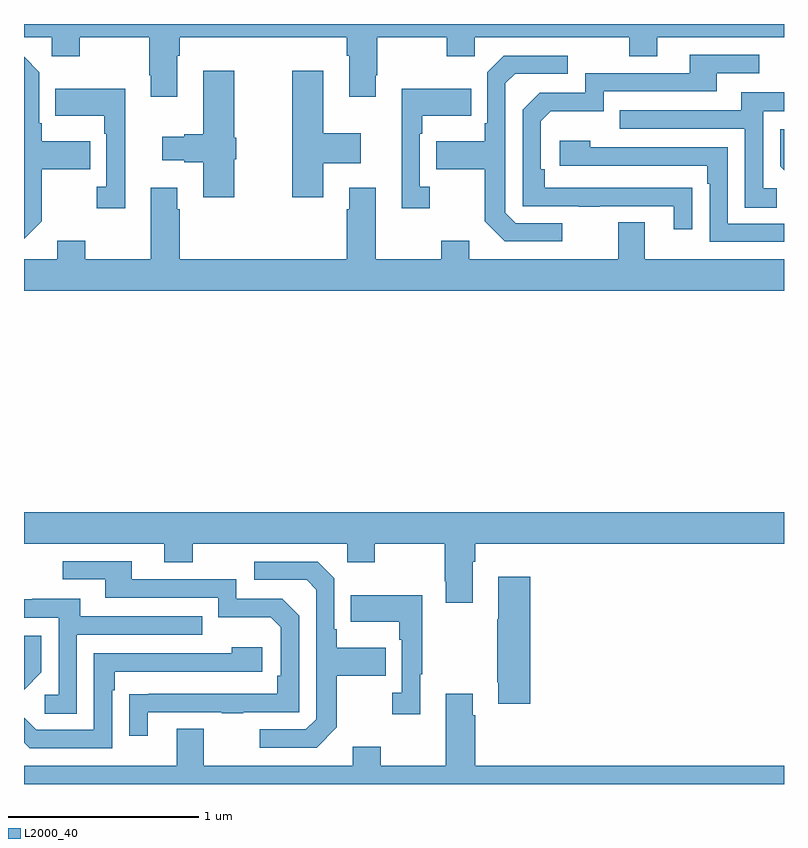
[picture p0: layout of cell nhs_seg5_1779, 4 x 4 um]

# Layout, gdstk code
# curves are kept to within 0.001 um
import gdstk
lib = gdstk.Library(unit=1e-6, precision=1e-09)
def P(c, l, *ps):  # polygons
    for p in ps: c.add(gdstk.Polygon(p, *l))
L2000_40 = (2000, 40)

nhs_seg5_1779 = lib.new_cell('nhs_seg5_1779')
P(nhs_seg5_1779, L2000_40, [(217,888.728),(217.146,888.728),(217.146,888.629),(217.293,888.629),(217.293,888.728),(217.66,888.728),(217.66,888.529),(217.667,888.529),(217.667,888.417),(217.807,888.417),(217.807,888.632),(217.82,888.632),(217.82,888.728),(218.699,888.728),(218.699,888.632),(218.711,888.632),(218.711,888.417),(218.851,888.417),(218.851,888.529),(218.859,888.529),(218.859,888.728),(219.226,888.728),(219.226,888.629),(219.372,888.629),(219.372,888.728),(220.186,888.728),(220.186,888.629),(220.333,888.629),(220.333,888.728),(221,888.728),(221,888.799),(217,888.799)],
  [(220.517,887.936),(219.74,887.937),(219.74,888.034),(219.72,888.034),(219.72,888.288),(219.773,888.341),(220.05,888.341),(220.05,888.444),(220.645,888.444),(220.645,888.54),(220.87,888.54),(220.87,888.636),(220.505,888.636),(220.505,888.54),(219.954,888.54),(219.954,888.438),(219.714,888.438),(219.624,888.348),(219.624,887.841),(219.919,887.841),(219.919,887.836),(220.031,887.836),(220.031,887.841),(220.421,887.841),(220.421,887.718),(220.517,887.718)],
  [(219.832,887.751),(219.588,887.751),(219.534,887.805),(219.534,888.486),(219.585,888.537),(219.862,888.537),(219.862,888.633),(219.525,888.633),(219.438,888.546),(219.438,888.277),(219.426,888.277),(219.426,888.181),(219.169,888.181),(219.169,888.034),(219.426,888.034),(219.426,887.761),(219.531,887.655),(219.832,887.655)],
  [(217.093,887.761),(217.093,888.034),(217.349,888.034),(217.349,888.181),(217.093,888.181),(217.093,888.277),(217.08,888.277),(217.08,888.546),(217,888.626),(217,887.668)],
  [(218.575,888.065),(218.773,888.065),(218.773,888.223),(218.575,888.223),(218.575,888.553),(218.413,888.553),(218.413,887.886),(218.575,887.886)],
  [(218.106,888.087),(218.116,888.087),(218.116,888.201),(218.106,888.201),(218.106,888.553),(217.943,888.553),(217.943,888.218),(217.844,888.218),(217.844,888.205),(217.728,888.205),(217.728,888.083),(217.844,888.083),(217.844,888.071),(217.943,888.071),(217.943,887.886),(218.106,887.886)],
  [(217.532,888.457),(217.165,888.457),(217.165,888.317),(217.422,888.317),(217.422,888.221),(217.434,888.221),(217.434,887.942),(217.383,887.942),(217.383,887.829),(217.532,887.829)],
  [(219.136,887.942),(219.084,887.942),(219.084,888.221),(219.097,888.221),(219.097,888.317),(219.353,888.317),(219.353,888.457),(218.987,888.457),(218.987,887.829),(219.136,887.829)],
  [(220.963,887.934),(220.89,887.934),(220.89,888.339),(221,888.339),(221,888.439),(220.775,888.439),(220.775,888.345),(220.135,888.345),(220.135,888.249),(220.794,888.249),(220.794,887.833),(220.963,887.833)],
  [(221,888.244),(220.98,888.244),(220.98,888.05),(221,888.03)],
  [(221,887.748),(220.704,887.748),(220.704,888.15),(219.98,888.15),(219.98,888.184),(219.819,888.184),(219.819,888.054),(220.595,888.054),(220.595,887.957),(220.608,887.957),(220.608,887.652),(221,887.652)],
  [(221,887.56),(220.267,887.56),(220.267,887.755),(220.127,887.755),(220.127,887.56),(219.343,887.56),(219.343,887.659),(219.196,887.659),(219.196,887.56),(218.851,887.56),(218.851,887.938),(218.711,887.938),(218.711,887.825),(218.699,887.825),(218.699,887.56),(217.82,887.56),(217.82,887.825),(217.807,887.825),(217.807,887.938),(217.667,887.938),(217.667,887.56),(217.323,887.56),(217.323,887.659),(217.175,887.659),(217.175,887.56),(217,887.56),(217,887.396),(221,887.396)],
  [(219.361,885.968),(219.374,885.968),(219.374,886.064),(221,886.064),(221,886.228),(217,886.228),(217,886.064),(217.739,886.064),(217.739,885.965),(217.887,885.965),(217.887,886.064),(218.7,886.064),(218.7,885.965),(218.847,885.965),(218.847,886.064),(219.214,886.064),(219.214,885.865),(219.221,885.865),(219.221,885.753),(219.361,885.753)],
  [(217.651,885.177),(218.041,885.177),(218.041,885.172),(218.153,885.172),(218.153,885.177),(218.448,885.177),(218.448,885.684),(218.358,885.774),(218.118,885.774),(218.118,885.876),(217.567,885.876),(217.567,885.972),(217.203,885.972),(217.203,885.876),(217.427,885.876),(217.427,885.78),(218.022,885.78),(218.022,885.677),(218.299,885.677),(218.352,885.624),(218.352,885.37),(218.332,885.37),(218.332,885.273),(217.555,885.272),(217.555,885.054),(217.651,885.054)],
  [(218.647,885.097),(218.647,885.37),(218.903,885.37),(218.903,885.517),(218.647,885.517),(218.647,885.613),(218.634,885.613),(218.634,885.882),(218.547,885.969),(218.211,885.969),(218.211,885.873),(218.487,885.873),(218.538,885.822),(218.538,885.141),(218.484,885.087),(218.241,885.087),(218.241,884.991),(218.541,884.991)],
  [(219.665,885.889),(219.497,885.889),(219.497,885.665),(219.49,885.665),(219.49,885.334),(219.497,885.334),(219.497,885.222),(219.665,885.222)],
  [(219.085,885.377),(219.097,885.377),(219.097,885.793),(218.719,885.793),(218.719,885.653),(218.976,885.653),(218.976,885.557),(218.988,885.557),(218.988,885.278),(218.937,885.278),(218.937,885.165),(219.085,885.165)],
  [(217.278,885.585),(217.937,885.585),(217.937,885.681),(217.297,885.681),(217.297,885.775),(217.043,885.775),(217.043,885.771),(217,885.771),(217,885.675),(217.182,885.675),(217.182,885.27),(217.11,885.27),(217.11,885.169),(217.278,885.169)],
  [(217.092,885.386),(217.092,885.58),(217,885.58),(217,885.294)],
  [(217.464,885.293),(217.477,885.293),(217.477,885.39),(218.254,885.39),(218.254,885.52),(218.093,885.52),(218.093,885.486),(217.368,885.486),(217.368,885.084),(217.065,885.084),(217,885.149),(217,885.017),(217.029,884.988),(217.464,884.988)],
  [(221,884.896),(219.374,884.896),(219.374,885.161),(219.361,885.161),(219.361,885.274),(219.221,885.274),(219.221,884.896),(218.877,884.896),(218.877,884.995),(218.729,884.995),(218.729,884.896),(217.945,884.896),(217.945,885.091),(217.805,885.091),(217.805,884.896),(217,884.896),(217,884.799),(221,884.799)])

lib.write_gds('nhs_seg5_1779.gds')
